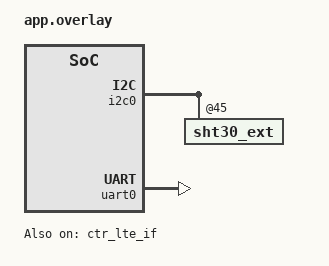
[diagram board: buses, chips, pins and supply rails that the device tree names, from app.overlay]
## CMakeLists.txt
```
cmake_minimum_required(VERSION 3.20.0)

# TODO Use set_ifdef(CONFIG_CTR_Z) instead?
# set(SHIELD ctr_z)
find_package(Zephyr REQUIRED HINTS $ENV{ZEPHYR_BASE})
project(input)

target_sources(app PRIVATE src/main.c)
```

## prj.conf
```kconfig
CONFIG_CTR_SDK=y
CONFIG_CTR_ACCEL=y
CONFIG_CTR_BATT=y
CONFIG_CTR_BUTTON=y
CONFIG_CTR_CONFIG=y
CONFIG_CTR_HYGRO=y
CONFIG_CTR_LED=y
CONFIG_CTR_LOG=y
CONFIG_CTR_LTE=y
CONFIG_CTR_LTE_IF=y
CONFIG_CTR_RFMUX=y
CONFIG_CTR_RTC=y
CONFIG_CTR_THERM=y

CONFIG_SHT3XD_SINGLE_SHOT_MODE=y
CONFIG_LIS2DH_ACCEL_RANGE_4G=y
CONFIG_LIS2DH_ODR_2=y
CONFIG_LIS2DH_TRIGGER_GLOBAL_THREAD=y
CONFIG_LOG_BACKEND_RTT_MODE_DROP=y
CONFIG_CTR_GNSS=y
CONFIG_CTR_GNSS_LOG_LEVEL_DBG=y

CONFIG_CTR_GPIO=y

# Do not remove, Tester SDK might need some prompt to work properly
CONFIG_SHELL_PROMPT_RTT="chester:~$ "
```

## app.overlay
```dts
&i2c0 {
	sht30_ext: sht30_ext@45 {
		status = "okay";
	};
};

&uart0 {
	status = "okay";
};

&ctr_lte_if {
	status = "okay";
};
```

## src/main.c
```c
/* CHESTER includes */
#include <ctr_accel.h>
#include <ctr_batt.h>
#include <ctr_gpio.h>
#include <ctr_led.h>
#include <ctr_lte.h>
#include <ctr_hygro.h>
#include <ctr_therm.h>

/* Zephyr includes */
#include <logging/log.h>
#include <shell/shell.h>
#include <sys/byteorder.h>
#include <zephyr.h>

LOG_MODULE_REGISTER(main, LOG_LEVEL_DBG);

void main(void)
{
	LOG_INF("Build time: " __DATE__ " " __TIME__);

	for (;;) {
		k_sleep(K_MSEC(500));
	}
}

static int cmd_gpio_test(const struct shell *shell, size_t argc, char **argv)
{
	ctr_gpio_configure(CTR_GPIO_CHANNEL_A0, CTR_GPIO_MODE_OUTPUT);
	ctr_gpio_configure(CTR_GPIO_CHANNEL_B0, CTR_GPIO_MODE_OUTPUT);
	ctr_gpio_configure(CTR_GPIO_CHANNEL_A2, CTR_GPIO_MODE_OUTPUT);
	ctr_gpio_configure(CTR_GPIO_CHANNEL_B2, CTR_GPIO_MODE_OUTPUT);

	ctr_gpio_configure(CTR_GPIO_CHANNEL_A1, CTR_GPIO_MODE_INPUT_PD);
	ctr_gpio_configure(CTR_GPIO_CHANNEL_B1, CTR_GPIO_MODE_INPUT_PD);
	ctr_gpio_configure(CTR_GPIO_CHANNEL_A3, CTR_GPIO_MODE_INPUT_PD);
	ctr_gpio_configure(CTR_GPIO_CHANNEL_B3, CTR_GPIO_MODE_INPUT_PD);

	int pin_a1, pin_b1, pin_a3, pin_b3;

	ctr_gpio_read(CTR_GPIO_CHANNEL_A1, &pin_a1);
	ctr_gpio_read(CTR_GPIO_CHANNEL_B1, &pin_b1);
	ctr_gpio_read(CTR_GPIO_CHANNEL_A3, &pin_a3);
	ctr_gpio_read(CTR_GPIO_CHANNEL_B3, &pin_b3);

	/* Print pins' state (should be all zeros) */
	shell_print(shell, "off: A1 %u, B1 %u, A3 %u, B3 %u", pin_a1, pin_b1, pin_a3, pin_b3);

	/* Enable outputs */
	ctr_gpio_write(CTR_GPIO_CHANNEL_A0, 1);
	ctr_gpio_write(CTR_GPIO_CHANNEL_B0, 1);
	ctr_gpio_write(CTR_GPIO_CHANNEL_A2, 1);
	ctr_gpio_write(CTR_GPIO_CHANNEL_B2, 1);

	ctr_gpio_read(CTR_GPIO_CHANNEL_A1, &pin_a1);
	ctr_gpio_read(CTR_GPIO_CHANNEL_B1, &pin_b1);
	ctr_gpio_read(CTR_GPIO_CHANNEL_A3, &pin_a3);
	ctr_gpio_read(CTR_GPIO_CHANNEL_B3, &pin_b3);

	/* Print pins' state (should be all ones) */
	shell_print(shell, "on: A1 %u, B1 %u, A3 %u, B3 %u", pin_a1, pin_b1, pin_a3, pin_b3);

	/* Deassert all outputs */
	ctr_gpio_write(CTR_GPIO_CHANNEL_A0, 0);
	ctr_gpio_write(CTR_GPIO_CHANNEL_B0, 0);
	ctr_gpio_write(CTR_GPIO_CHANNEL_A2, 0);
	ctr_gpio_write(CTR_GPIO_CHANNEL_B2, 0);

	return 0;
}

static int print_help(const struct shell *shell, size_t argc, char **argv)
{
	if (argc > 1) {
		shell_error(shell, "command not found: %s", argv[1]);
		shell_help(shell);
		return -EINVAL;
	}

	shell_help(shell);

	return 0;
}

SHELL_STATIC_SUBCMD_SET_CREATE(sub_gpio,
                               SHELL_CMD_ARG(test, NULL, "Test X module GPIO.", cmd_gpio_test, 0,
                                             0),
                               SHELL_SUBCMD_SET_END);

SHELL_CMD_REGISTER(gpio, &sub_gpio, "GPIO commands.", print_help);
```
